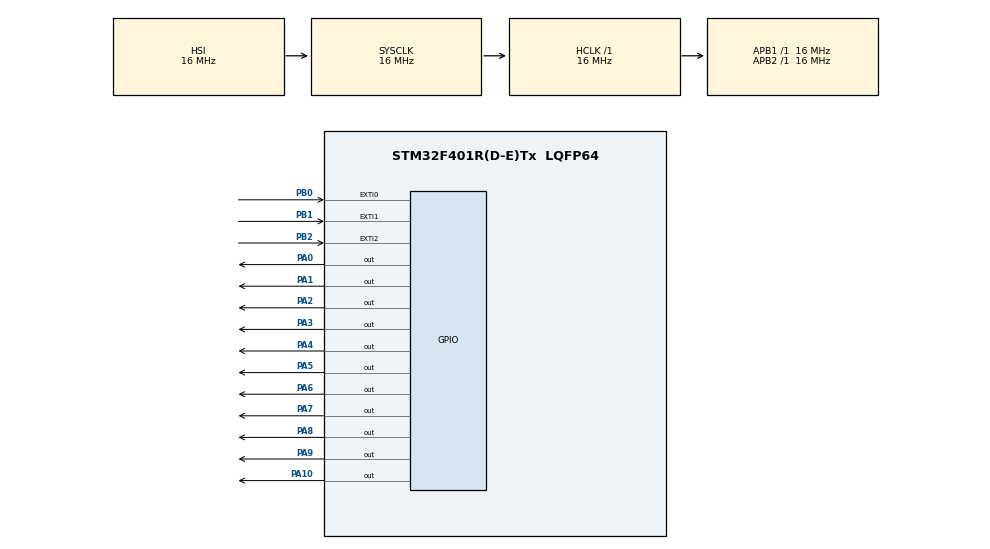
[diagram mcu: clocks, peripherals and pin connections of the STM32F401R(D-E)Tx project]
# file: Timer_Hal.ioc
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Mcu.Family=STM32F4
Mcu.Name=STM32F401R(D-E)Tx
Mcu.Package=LQFP64
NVIC.EXTI0_IRQn=true\:1\:0\:true\:false\:true\:true\:true\:true
NVIC.EXTI1_IRQn=true\:1\:0\:true\:false\:true\:true\:true\:true
NVIC.EXTI2_IRQn=true\:1\:0\:true\:false\:true\:true\:true\:true
NVIC.PriorityGroup=NVIC_PRIORITYGROUP_4
NVIC.RCC_IRQn=true\:0\:0\:false\:false\:true\:true\:false\:true
NVIC.TIM2_IRQn=true\:1\:0\:true\:false\:true\:true\:true\:true
NVIC.TIM3_IRQn=true\:1\:0\:true\:false\:true\:true\:true\:true
PA0-WKUP.GPIO_ModeDefaultOutputPP=GPIO_MODE_OUTPUT_PP
PA0-WKUP.GPIO_PuPd=GPIO_PULLDOWN
PA0-WKUP.Signal=GPIO_Output
PA1.GPIO_PuPd=GPIO_PULLDOWN
PA1.Signal=GPIO_Output
PA10.GPIO_PuPd=GPIO_PULLDOWN
PA10.GPIO_Speed=GPIO_SPEED_FREQ_LOW
PA10.Signal=GPIO_Output
PA2.GPIO_PuPd=GPIO_PULLDOWN
PA2.Signal=GPIO_Output
PA3.GPIO_PuPd=GPIO_PULLDOWN
PA3.Signal=GPIO_Output
PA4.GPIO_PuPd=GPIO_PULLDOWN
PA4.Signal=GPIO_Output
PA5.GPIO_PuPd=GPIO_PULLDOWN
PA5.Signal=GPIO_Output
PA6.GPIO_PuPd=GPIO_PULLDOWN
PA6.Signal=GPIO_Output
PA7.GPIO_PuPd=GPIO_PULLDOWN
PA7.Signal=GPIO_Output
PA8.GPIO_PuPd=GPIO_PULLDOWN
PA8.Signal=GPIO_Output
PA9.GPIO_PuPd=GPIO_PULLDOWN
PA9.Signal=GPIO_Output
PB0.GPIO_ModeDefaultEXTI=GPIO_MODE_IT_FALLING
PB0.GPIO_PuPd=GPIO_PULLDOWN
PB0.Signal=GPXTI0
PB1.GPIO_ModeDefaultEXTI=GPIO_MODE_IT_FALLING
PB1.GPIO_PuPd=GPIO_PULLDOWN
PB1.Signal=GPXTI1
PB2.GPIO_ModeDefaultEXTI=GPIO_MODE_IT_RISING_FALLING
PB2.GPIO_PuPd=GPIO_PULLDOWN
PB2.Signal=GPXTI2
ProjectManager.HeapSize=0x200
ProjectManager.StackSize=0x400
ProjectManager.TargetToolchain=MDK-ARM V5.32
RCC.AHBFreq_Value=16000000
RCC.APB1Freq_Value=16000000
RCC.APB1TimFreq_Value=16000000
RCC.APB2Freq_Value=16000000
RCC.APB2TimFreq_Value=16000000
RCC.CortexFreq_Value=16000000
RCC.HCLKFreq_Value=16000000
RCC.HSE_VALUE=25000000
RCC.HSI_VALUE=16000000
RCC.LSE_VALUE=32768
RCC.RCC_TIM_PRescaler_Selection=RCC_TIMPRES_ACTIVATED
RCC.SYSCLKFreq_VALUE=16000000
RCC.VCOOutputFreq_Value=192000000
TIM2.AutoReloadPreload=TIM_AUTORELOAD_PRELOAD_DISABLE
TIM2.Period=1
TIM2.Prescaler=15999
TIM3.Period=500
TIM3.Prescaler=1599
VP_TIM2_VS_ClockSourceINT.Mode=Internal
VP_TIM3_VS_ClockSourceINT.Mode=Internal
board=custom

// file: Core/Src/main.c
/* USER CODE BEGIN Header */
/**
  ******************************************************************************
  * @file           : main.c
  * @brief          : Main program body
  ******************************************************************************
  * @attention
  *
  * Copyright (c) 2022 STMicroelectronics.
  * All rights reserved.
  *
  * This software is licensed under terms that can be found in the LICENSE file
  * in the root directory of this software component.
  * If no LICENSE file comes with this software, it is provided AS-IS.
  *
  ******************************************************************************
  */
/* USER CODE END Header */
#include "main.h"

/* USER CODE BEGIN PD */
// LCD pins number in port A
#define d0 0 //PA0
#define d1 1 //PA1
#define d2 2 //PA2
#define d3 3 //PA3
#define d4 4 //PA4
#define d5 5 //PA5
#define d6 6 //PA6
#define d7 7 //PA07

#define E 8 //PA8
#define RW 9 //PA9
#define RS 10 //PA10

// push buttons in port B
#define button1 0 // PB0 button one
#define button2 1 // PB1 button two
#define button3 2 // PB2 button three

//MASKS:
#define SET1(x) (1ul << (x))
#define SET0(x) (~(SET1(x)))
/* USER CODE END PD */

 TIM_HandleTypeDef htim2;
TIM_HandleTypeDef htim3;

/* USER CODE BEGIN PV */
static char array [9] ;
static int status = -2; // 0 => nothing(counting)       1 => turn off was shown          -1 => turn off wasn't shown         2 => stop (2nd push button)
//    -2 => start
/* USER CODE END PV */

void SystemClock_Config(void);
void PeriphCommonClock_Config(void);
static void MX_TIM2_Init(void);
static void MX_TIM3_Init(void);
/* USER CODE BEGIN PFP */
void MyInitialize(void);
void LCD_put_char(char data);
void HAL_Delay(uint32_t Delay);
void LCD_init(void);
void LCD_command(unsigned char command);
void LCD_resetCommand(void);
void LCD_setCommand(void);
int getNumber(char c);
char getChar(int digit);
void resetArray(void);
void firstButtonHandler(void);
void incMiliSecond(int index, int value);
void secondButtonHandler(void);
void thirdButtonClick(void);
void thirdButtonPressed(void);
void print_turnOff(void);
void clearTurnOff(void);
void tim3_Handler(void);
/* USER CODE END PFP */

/* USER CODE BEGIN 0 */
/*
 ****************** Editing HAL_Delay Function Because It Added The Delay Time **************
 */
 void HAL_Delay(uint32_t Delay){ // It is same as the function in stm32f4xx_hal.c File, Line 390, But we commented the part which
//was adding delay time
  uint32_t tickstart = HAL_GetTick();
  uint32_t wait = Delay;

  ///* Add a freq to guarantee minimum wait */
  //if (wait < HAL_MAX_DELAY)
  //{
  //  wait += (uint32_t)(uwTickFreq);
  //}

  while((HAL_GetTick() - tickstart) < wait)
  {
  }
}
/*
 ******************************************* My Functions ******************************************
 */
void MyInitialize(void){
	MX_TIM2_Init();
	MX_TIM3_Init();
	HAL_NVIC_DisableIRQ(TIM2_IRQn);
	HAL_NVIC_DisableIRQ(TIM3_IRQn);
	LCD_init();
	LCD_setCommand();
	// setting all array indexes to " ". (we consider this as a null index in array)
	resetArray();
}

void LCD_put_char(char data) {
	HAL_GPIO_WritePin(GPIOA, GPIO_PIN_0, SET1(0) & data);
	HAL_GPIO_WritePin(GPIOA, GPIO_PIN_1, SET1(1) & data);
	HAL_GPIO_WritePin(GPIOA, GPIO_PIN_2, SET1(2) & data);
	HAL_GPIO_WritePin(GPIOA, GPIO_PIN_3, SET1(3) & data);
	HAL_GPIO_WritePin(GPIOA, GPIO_PIN_4, SET1(4) & data);
	HAL_GPIO_WritePin(GPIOA, GPIO_PIN_5, SET1(5) & data);
	HAL_GPIO_WritePin(GPIOA, GPIO_PIN_6, SET1(6) & data);
	HAL_GPIO_WritePin(GPIOA, GPIO_PIN_7, SET1(7) & data);
	HAL_GPIO_WritePin(GPIOA, GPIO_PIN_10, 1); // RS
	HAL_GPIO_WritePin(GPIOA, GPIO_PIN_9, 0); // RW
	HAL_GPIO_WritePin(GPIOA, GPIO_PIN_8, 1); // E
	HAL_GPIO_WritePin(GPIOA, GPIO_PIN_8, 0); // E
	// making the least possible delay for writing characters correctly in the LCD
	for(int i = 0; i < 17 ; i++)
		HAL_Delay(0);
}

void LCD_init(void){
	LCD_command(0x38);
	LCD_command(0x06);
	LCD_command(0x08);
	LCD_command(0x0C);
}

void LCD_command(unsigned char command){
	HAL_GPIO_WritePin(GPIOA, GPIO_PIN_0, SET1(0) & command);
	HAL_GPIO_WritePin(GPIOA, GPIO_PIN_1, SET1(1) & command);
	HAL_GPIO_WritePin(GPIOA, GPIO_PIN_2, SET1(2) & command);
	HAL_GPIO_WritePin(GPIOA, GPIO_PIN_3, SET1(3) & command);
	HAL_GPIO_WritePin(GPIOA, GPIO_PIN_4, SET1(4) & command);
	HAL_GPIO_WritePin(GPIOA, GPIO_PIN_5, SET1(5) & command);
	HAL_GPIO_WritePin(GPIOA, GPIO_PIN_6, SET1(6) & command);
	HAL_GPIO_WritePin(GPIOA, GPIO_PIN_7, SET1(7) & command);
	HAL_GPIO_WritePin(GPIOA, GPIO_PIN_10, 0); // RS
	HAL_GPIO_WritePin(GPIOA, GPIO_PIN_9, 0); // RW
	HAL_GPIO_WritePin(GPIOA, GPIO_PIN_8, 1); // E
	HAL_GPIO_WritePin(GPIOA, GPIO_PIN_8, 0); // E

  if (command < 4)
      HAL_Delay(2);           /* command 1 and 2 needs up to 1.64ms */
  else
      HAL_Delay(1);           /* all others 40 us */
}
void LCD_setCommand(void){
	LCD_command(0x01);
	LCD_command(0x38);
	//Welcome
	LCD_put_char('W');
	LCD_put_char('e');
	LCD_put_char('l');
	LCD_put_char('c');
	LCD_put_char('o');
	LCD_put_char('m');
	LCD_put_char('e');
	LCD_command(0xC0);
}

void LCD_resetCommand(void){
	LCD_command(0xC0);
	int i = 0;
	while(i < 9){
		LCD_put_char(array[i++]);
	}
}

int getNumber(char c){
	switch(c){
		case '0' : return 0;
		case '1' : return 1;
		case '2' : return 2;
		case '3' : return 3;
		case '4' : return 4;
		case '5' : return 5;
		case '6' : return 6;
		case '7' : return 7;
		case '8' : return 8;
		case '9' : return 9;
	}
	return -1;
}
char getChar(int digit){
	switch(digit){
		case 0 : return '0';
		case 1 : return '1';
		case 2 : return '2';
		case 3 : return '3';
		case 4 : return '4';
		case 5 : return '5';
		case 6 : return '6';
		case 7 : return '7';
		case 8 : return '8';
		case 9 : return '9';
	}
	return '&';
}
void resetArray(void){
	array[0] = '0';
	array[1] = '0';
	array[2] = ':';
	array[3] = '0';
	array[4] = '0';
	array[5] = ':';
	array[6] = '0';
	array[7] = '0';
	array[8] = '0';

}
void incMiliSecond(int index, int value){
	LCD_command(0x10);
	if(index == 2 || index == 5){
		incMiliSecond(index - 1, value);
		LCD_put_char(':');
		return;
	}
	int a = getNumber(array[index]);
	a += value;
	if(index == 3 && a == 6){
		incMiliSecond(index - 1, 1);
		a-= 6;
		array[index] = getChar(a);
		LCD_put_char(getChar(a));
	}else if((a >= 10)){
		incMiliSecond(index - 1, a / 10);
		a %= 10;
		array[index] = getChar(a);
		LCD_put_char(getChar(a));
	}else{
		array[index] = getChar(a);
		LCD_put_char(array[index]);
	}
}
void firstButtonHandler(void){
	HAL_NVIC_DisableIRQ(TIM3_IRQn);
	if(status != 0){
		status = 0;
		LCD_resetCommand();
		HAL_NVIC_EnableIRQ(TIM2_IRQn);
	}
}
void secondButtonHandler(void){
	HAL_NVIC_DisableIRQ(TIM2_IRQn);
	if(status == 0)
		status = 2;
}
void thirdButtonHandler(void){
	HAL_NVIC_DisableIRQ(TIM2_IRQn);

	HAL_NVIC_SetPendingIRQ(EXTI2_IRQn);

	int a = HAL_GPIO_ReadPin(GPIOB, GPIO_PIN_2)		== 0 ? 0 : 1;
	int isPressed = 1;

	// the folowiong is the exact body of the HAL_Delay
	uint32_t tickstart = HAL_GetTick();
  uint32_t wait = 200; // NUMBER OF THE TIME THAT WE ARE IN LOOP

  /* Add a freq to guarantee minimum wait */
  if (wait < HAL_MAX_DELAY)
  {
    wait += (uint32_t)(uwTickFreq);
  }

	// if we just checked the GPIOB -> IDR at the end of the 3rd minuet, we would waste a lot of time
  while((HAL_GetTick() - tickstart) < wait)
  {
		if((a == 1) && ((HAL_GPIO_ReadPin(GPIOB, GPIO_PIN_2) == 0))){
			isPressed = 0;
			break;
		}
		if((a == 0) && ((HAL_GPIO_ReadPin(GPIOB, GPIO_PIN_2) == 1))){
			isPressed = 0;
			break;
		}
  }
	if(isPressed == 1){
		thirdButtonPressed();
	}else{
		thirdButtonClick();
	}

	HAL_NVIC_ClearPendingIRQ(EXTI2_IRQn);
}
void thirdButtonClick(void){
	HAL_NVIC_DisableIRQ(TIM2_IRQn);
	status = -2;
	resetArray();
	LCD_resetCommand();
}
void thirdButtonPressed(void){
	print_turnOff();
	resetArray();
	status = 1;
	HAL_NVIC_EnableIRQ(TIM3_IRQn);
}
void print_turnOff(void){
	LCD_command(0xC0);
	LCD_put_char('T');
	LCD_put_char('u');
	LCD_put_char('r');
	LCD_put_char('n');
	LCD_put_char(' ');
	LCD_put_char('O');
	LCD_put_char('f');
	LCD_put_char('f');
	LCD_put_char(' ');
}
void clearTurnOff(void){ // for better looking, we set delays 30 mili seconds
	// but even 1 mili second was enough
	LCD_command(0xC0);
	LCD_put_char(' ');
	LCD_put_char(' ');
	LCD_put_char(' ');
	LCD_put_char(' ');
	LCD_put_char(' ');
	LCD_put_char(' ');
	LCD_put_char(' ');
	LCD_put_char(' ');
}
void tim3_Handler(void){
	HAL_NVIC_DisableIRQ(TIM2_IRQn);
	if(status == 1){
		clearTurnOff();
		status = -1;
	}else if (status == -1){
		print_turnOff();
		status = 1;
	}
}
/*
 ********************************** Intrrups ***********************************
 */
void HAL_GPIO_EXTI_Callback(uint16_t GPIO_Pin){
	if(GPIO_Pin & SET1(0)){ // First Button is pushed
		firstButtonHandler();
	} else if(GPIO_Pin & SET1(1)){ // second button is pushed
		secondButtonHandler();
	} else if(GPIO_Pin & SET1(2)){ // third button is pushed
		thirdButtonHandler();
	}
}

void HAL_TIM_PeriodElapsedCallback(TIM_HandleTypeDef *htim){
	if(htim -> Instance == TIM2)
		incMiliSecond(8, 37);
	else if(htim -> Instance == TIM3)
		tim3_Handler();
}

/* USER CODE END 0 */

int main(void)
{

  /* MCU Configuration--------------------------------------------------------*/

  /* Reset of all peripherals, Initializes the Flash interface and the Systick. */
  HAL_Init();

  /* Configure the system clock */
  SystemClock_Config();

/* Configure the peripherals common clocks */
  PeriphCommonClock_Config();

  /* Initialize all configured peripherals */
  MX_GPIO_Init();
  /* USER CODE BEGIN 2 */
	MyInitialize();
  /* USER CODE END 2 */

  /* Infinite loop */
  while (1)
  {

  }
}

void SystemClock_Config(void)
{
  RCC_OscInitTypeDef RCC_OscInitStruct = {0};
  RCC_ClkInitTypeDef RCC_ClkInitStruct = {0};

  /** Configure the main internal regulator output voltage
  */
  __HAL_RCC_PWR_CLK_ENABLE();
  __HAL_PWR_VOLTAGESCALING_CONFIG(PWR_REGULATOR_VOLTAGE_SCALE2);

  /** Initializes the RCC Oscillators according to the specified parameters
  * in the RCC_OscInitTypeDef structure.
  */
  RCC_OscInitStruct.OscillatorType = RCC_OSCILLATORTYPE_HSI;
  RCC_OscInitStruct.HSIState = RCC_HSI_ON;
  RCC_OscInitStruct.HSICalibrationValue = RCC_HSICALIBRATION_DEFAULT;
  RCC_OscInitStruct.PLL.PLLState = RCC_PLL_NONE;
  if (HAL_RCC_OscConfig(&RCC_OscInitStruct) != HAL_OK)
  {
    Error_Handler();
  }

  /** Initializes the CPU, AHB and APB buses clocks
  */
  RCC_ClkInitStruct.ClockType = RCC_CLOCKTYPE_HCLK|RCC_CLOCKTYPE_SYSCLK
                              |RCC_CLOCKTYPE_PCLK1|RCC_CLOCKTYPE_PCLK2;
  RCC_ClkInitStruct.SYSCLKSource = RCC_SYSCLKSOURCE_HSI;
  RCC_ClkInitStruct.AHBCLKDivider = RCC_SYSCLK_DIV1;
  RCC_ClkInitStruct.APB1CLKDivider = RCC_HCLK_DIV1;
  RCC_ClkInitStruct.APB2CLKDivider = RCC_HCLK_DIV1;

  if (HAL_RCC_ClockConfig(&RCC_ClkInitStruct, FLASH_LATENCY_0) != HAL_OK)
  {
    Error_Handler();
  }
}

void PeriphCommonClock_Config(void)
{
  RCC_PeriphCLKInitTypeDef PeriphClkInitStruct = {0};

  /** Initializes the peripherals clock
  */
  PeriphClkInitStruct.PeriphClockSelection = RCC_PERIPHCLK_TIM;
  PeriphClkInitStruct.TIMPresSelection = RCC_TIMPRES_ACTIVATED;
  if (HAL_RCCEx_PeriphCLKConfig(&PeriphClkInitStruct) != HAL_OK)
  {
    Error_Handler();
  }
}

static void MX_TIM2_Init(void)
{

  TIM_ClockConfigTypeDef sClockSourceConfig = {0};
  TIM_MasterConfigTypeDef sMasterConfig = {0};

  htim2.Instance = TIM2;
  htim2.Init.Prescaler = 15999;
  htim2.Init.CounterMode = TIM_COUNTERMODE_UP;
  htim2.Init.Period = 1;
  htim2.Init.ClockDivision = TIM_CLOCKDIVISION_DIV1;
  htim2.Init.AutoReloadPreload = TIM_AUTORELOAD_PRELOAD_DISABLE;
  if (HAL_TIM_Base_Init(&htim2) != HAL_OK)
  {
    Error_Handler();
  }
  sClockSourceConfig.ClockSource = TIM_CLOCKSOURCE_INTERNAL;
  if (HAL_TIM_ConfigClockSource(&htim2, &sClockSourceConfig) != HAL_OK)
  {
    Error_Handler();
  }
  sMasterConfig.MasterOutputTrigger = TIM_TRGO_RESET;
  sMasterConfig.MasterSlaveMode = TIM_MASTERSLAVEMODE_DISABLE;
  if (HAL_TIMEx_MasterConfigSynchronization(&htim2, &sMasterConfig) != HAL_OK)
  {
    Error_Handler();
  }
  /* USER CODE BEGIN TIM2_Init 2 */
	//TIM2 -> CR1 = 1;
	htim2.Instance->CR1 = 1; // active
	htim2.Instance->DIER |= 1;
	//TIM2 -> DIER |= 1;
  /* USER CODE END TIM2_Init 2 */

}

static void MX_TIM3_Init(void)
{

  TIM_ClockConfigTypeDef sClockSourceConfig = {0};
  TIM_MasterConfigTypeDef sMasterConfig = {0};

  htim3.Instance = TIM3;
  htim3.Init.Prescaler = 1599;
  htim3.Init.CounterMode = TIM_COUNTERMODE_UP;
  htim3.Init.Period = 500;
  htim3.Init.ClockDivision = TIM_CLOCKDIVISION_DIV1;
  htim3.Init.AutoReloadPreload = TIM_AUTORELOAD_PRELOAD_DISABLE;
  if (HAL_TIM_Base_Init(&htim3) != HAL_OK)
  {
    Error_Handler();
  }
  sClockSourceConfig.ClockSource = TIM_CLOCKSOURCE_INTERNAL;
  if (HAL_TIM_ConfigClockSource(&htim3, &sClockSourceConfig) != HAL_OK)
  {
    Error_Handler();
  }
  sMasterConfig.MasterOutputTrigger = TIM_TRGO_RESET;
  sMasterConfig.MasterSlaveMode = TIM_MASTERSLAVEMODE_DISABLE;
  if (HAL_TIMEx_MasterConfigSynchronization(&htim3, &sMasterConfig) != HAL_OK)
  {
    Error_Handler();
  }
  /* USER CODE BEGIN TIM3_Init 2 */
	//TIM3 -> CR1 = 1;
	htim3.Instance->CR1 = 1; // active
	htim3.Instance->DIER |= 1;
	//TIM3 -> DIER |= 1;
  /* USER CODE END TIM3_Init 2 */

}

void MX_GPIO_Init(void)
{
  GPIO_InitTypeDef GPIO_InitStruct = {0};

  /* GPIO Ports Clock Enable */
  __HAL_RCC_GPIOA_CLK_ENABLE();
  __HAL_RCC_GPIOB_CLK_ENABLE();

  /*Configure GPIO pin Output Level */
  HAL_GPIO_WritePin(GPIOA, GPIO_PIN_0|GPIO_PIN_1|GPIO_PIN_2|GPIO_PIN_3
                          |GPIO_PIN_4|GPIO_PIN_5|GPIO_PIN_6|GPIO_PIN_7
                          |GPIO_PIN_8|GPIO_PIN_9|GPIO_PIN_10, GPIO_PIN_RESET);

  /*Configure GPIO pins : PA0 PA1 PA2 PA3
                           PA4 PA5 PA6 PA7
                           PA8 PA9 PA10 */
  GPIO_InitStruct.Pin = GPIO_PIN_0|GPIO_PIN_1|GPIO_PIN_2|GPIO_PIN_3
                          |GPIO_PIN_4|GPIO_PIN_5|GPIO_PIN_6|GPIO_PIN_7
                          |GPIO_PIN_8|GPIO_PIN_9|GPIO_PIN_10;
  GPIO_InitStruct.Mode = GPIO_MODE_OUTPUT_PP;
  GPIO_InitStruct.Pull = GPIO_PULLDOWN;
  GPIO_InitStruct.Speed = GPIO_SPEED_FREQ_LOW;
  HAL_GPIO_Init(GPIOA, &GPIO_InitStruct);

  /*Configure GPIO pins : PB0 PB1 */
  GPIO_InitStruct.Pin = GPIO_PIN_0|GPIO_PIN_1;
  GPIO_InitStruct.Mode = GPIO_MODE_IT_FALLING;
  GPIO_InitStruct.Pull = GPIO_PULLDOWN;
  HAL_GPIO_Init(GPIOB, &GPIO_InitStruct);

  /*Configure GPIO pin : PB2 */
  GPIO_InitStruct.Pin = GPIO_PIN_2;
  GPIO_InitStruct.Mode = GPIO_MODE_IT_RISING_FALLING;
  GPIO_InitStruct.Pull = GPIO_PULLDOWN;
  HAL_GPIO_Init(GPIOB, &GPIO_InitStruct);

  /* EXTI interrupt init*/
  HAL_NVIC_SetPriority(EXTI0_IRQn, 1, 0);
  HAL_NVIC_EnableIRQ(EXTI0_IRQn);

  HAL_NVIC_SetPriority(EXTI1_IRQn, 1, 0);
  HAL_NVIC_EnableIRQ(EXTI1_IRQn);

  HAL_NVIC_SetPriority(EXTI2_IRQn, 1, 0);
  HAL_NVIC_EnableIRQ(EXTI2_IRQn);

}

void Error_Handler(void)
{
  __disable_irq();
  while (1)
  {
  }
}
